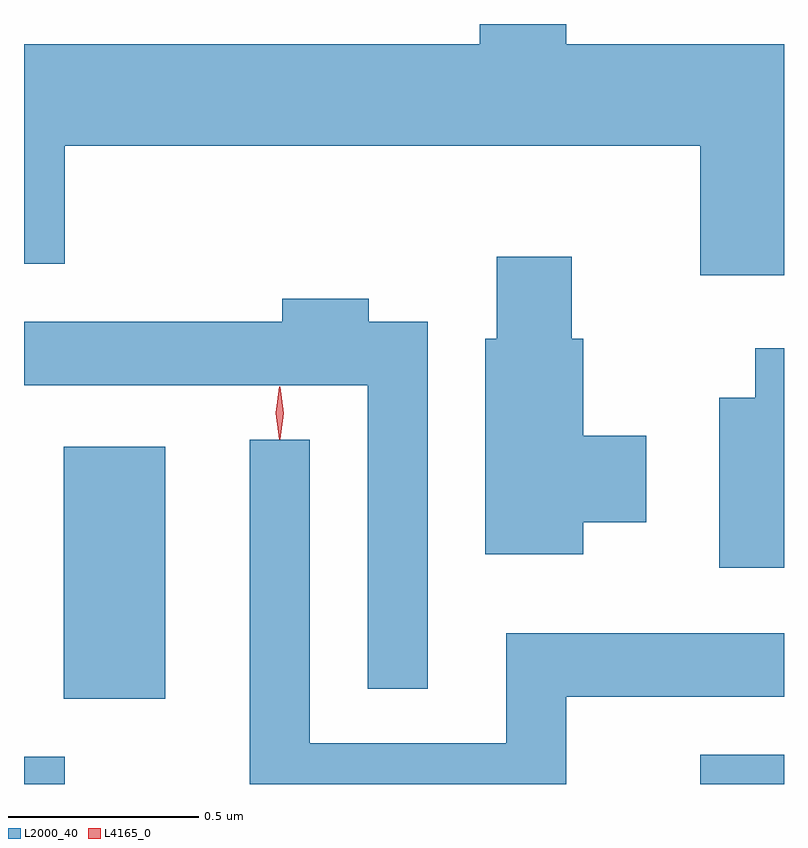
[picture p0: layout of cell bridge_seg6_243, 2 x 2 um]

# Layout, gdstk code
import gdstk
lib = gdstk.Library(unit=1e-6, precision=1e-09)
def R(c, l, rs):  # rectangles x0, y0, x1, y1
    for r in rs: c.add(gdstk.rectangle(r[:2], r[2:], *l))
def P(c, l, *ps):  # polygons
    for p in ps: c.add(gdstk.Polygon(p, *l))
L2000_40 = (2000, 40)
L4165_0 = (4165, 0)

bridge_seg6_243 = lib.new_cell('bridge_seg6_243')
R(bridge_seg6_243, L2000_40, [(1143.492,1563.897,1143.599,1563.969), (1145.271,1563.897,1145.492,1563.974), (1143.596,1564.121,1143.864,1564.784)])
P(bridge_seg6_243, L2000_40, [(1145.492,1565.844),(1144.919,1565.844),(1144.919,1565.897),(1144.691,1565.897),(1144.691,1565.844),(1143.492,1565.844),(1143.492,1565.266),(1143.599,1565.266),(1143.599,1565.576),(1145.271,1565.576),(1145.271,1565.236),(1145.492,1565.236)],
  [(1144.964,1564.586),(1145.129,1564.586),(1145.129,1564.814),(1144.964,1564.814),(1144.964,1565.069),(1144.934,1565.069),(1144.934,1565.284),(1144.736,1565.284),(1144.736,1565.069),(1144.706,1565.069),(1144.706,1564.501),(1144.964,1564.501)],
  [(1144.554,1565.114),(1144.399,1565.114),(1144.399,1565.174),(1144.171,1565.174),(1144.171,1565.114),(1143.492,1565.114),(1143.492,1564.946),(1144.396,1564.946),(1144.396,1564.148),(1144.554,1564.148)],
  [(1145.492,1565.044),(1145.416,1565.044),(1145.416,1564.914),(1145.321,1564.914),(1145.321,1564.466),(1145.492,1564.466)],
  [(1144.919,1564.126),(1145.492,1564.126),(1145.492,1564.294),(1144.761,1564.294),(1144.761,1564.004),(1144.244,1564.004),(1144.244,1564.803),(1144.086,1564.803),(1144.086,1563.897),(1144.919,1563.897)])
P(bridge_seg6_243, L4165_0, [(1144.165,1564.803),(1144.164,1564.804),(1144.155,1564.873),(1144.164,1564.942),(1144.165,1564.943),(1144.166,1564.942),(1144.175,1564.873),(1144.166,1564.804)],
  [(1144.164,1564.807),(1144.164,1564.808),(1144.154,1564.874),(1144.164,1564.94),(1144.164,1564.94),(1144.165,1564.94),(1144.174,1564.874),(1144.165,1564.808)])

lib.write_gds('bridge_seg6_243.gds')
